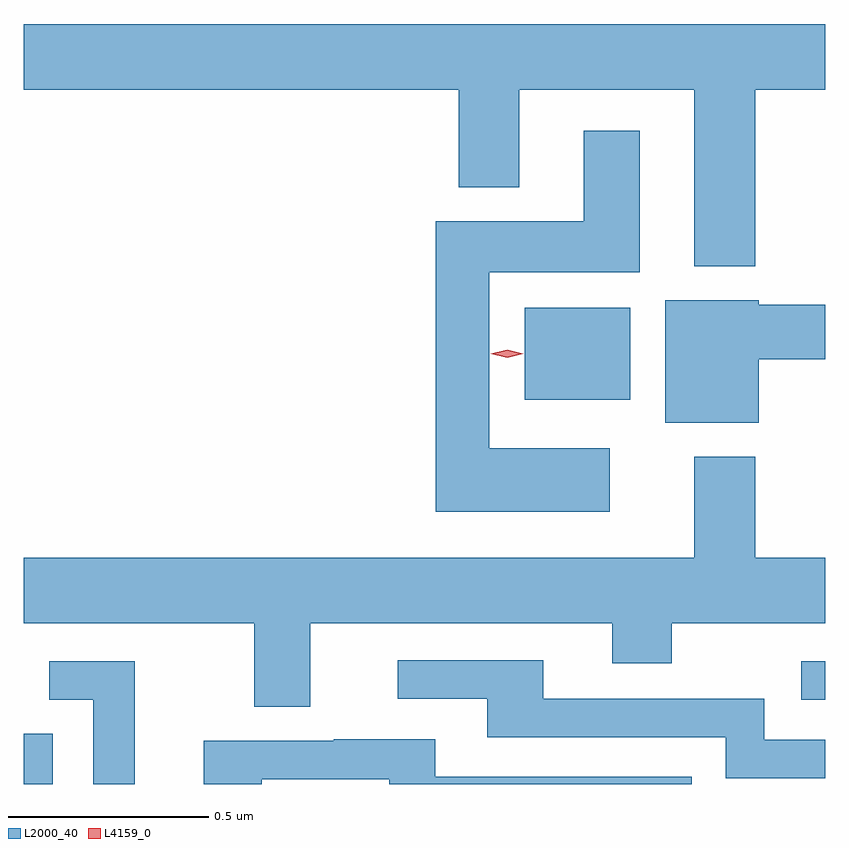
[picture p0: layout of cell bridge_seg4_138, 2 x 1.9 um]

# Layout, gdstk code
import gdstk
lib = gdstk.Library(unit=1e-6, precision=1e-09)
def R(c, l, rs):  # rectangles x0, y0, x1, y1
    for r in rs: c.add(gdstk.rectangle(r[:2], r[2:], *l))
def P(c, l, *ps):  # polygons
    for p in ps: c.add(gdstk.Polygon(p, *l))
L2000_40 = (2000, 40)
L4159_0 = (4159, 0)

bridge_seg4_138 = lib.new_cell('bridge_seg4_138')
R(bridge_seg4_138, L2000_40, [(273.324,768.447,273.396,768.572), (275.265,768.657,275.324,768.753), (274.574,769.406,274.837,769.636)])
P(bridge_seg4_138, L2000_40, [(275.15,770.18),(275.324,770.18),(275.324,770.344),(273.324,770.344),(273.324,770.18),(274.409,770.18),(274.409,769.937),(274.561,769.937),(274.561,770.18),(274.997,770.18),(274.997,769.739),(275.15,769.739)],
  [(274.786,769.285),(274.486,769.285),(274.486,769.724),(274.861,769.724),(274.861,770.077),(274.721,770.077),(274.721,769.852),(274.352,769.852),(274.352,769.127),(274.786,769.127)],
  [(275.158,769.507),(275.324,769.507),(275.324,769.643),(275.158,769.643),(275.158,769.654),(274.925,769.654),(274.925,769.349),(275.158,769.349)],
  [(274.039,768.848),(274.793,768.848),(274.793,768.749),(274.941,768.749),(274.941,768.848),(275.324,768.848),(275.324,769.012),(275.15,769.012),(275.15,769.264),(274.997,769.264),(274.997,769.012),(273.324,769.012),(273.324,768.848),(273.899,768.848),(273.899,768.64),(274.039,768.64)],
  [(275.324,768.558),(275.172,768.558),(275.172,768.66),(274.621,768.66),(274.621,768.756),(274.257,768.756),(274.257,768.66),(274.481,768.66),(274.481,768.564),(275.076,768.564),(275.076,768.461),(275.324,768.461)],
  [(273.601,768.753),(273.387,768.753),(273.387,768.657),(273.497,768.657),(273.497,768.447),(273.601,768.447)],
  [(273.918,768.459),(274.236,768.459),(274.236,768.447),(274.991,768.447),(274.991,768.465),(274.351,768.465),(274.351,768.559),(274.097,768.559),(274.097,768.555),(273.773,768.555),(273.773,768.447),(273.918,768.447)])
P(bridge_seg4_138, L4159_0, [(274.53,769.511),(274.489,769.521),(274.489,769.521),(274.489,769.521),(274.53,769.531),(274.57,769.521),(274.57,769.521),(274.57,769.521)])

lib.write_gds('bridge_seg4_138.gds')
